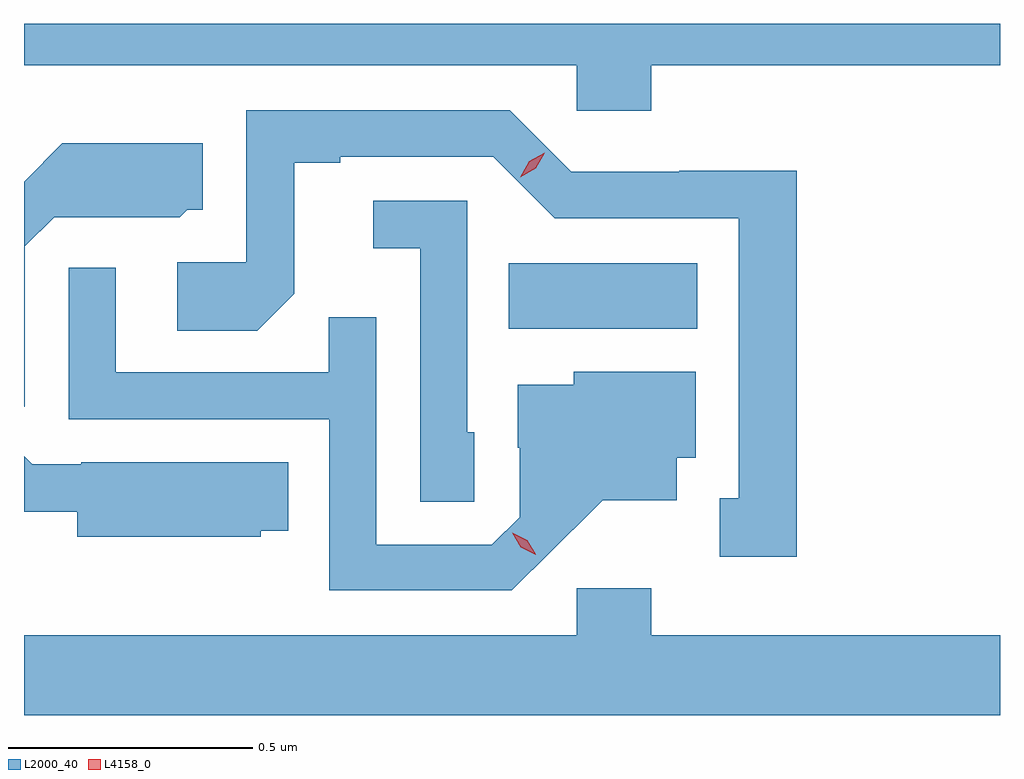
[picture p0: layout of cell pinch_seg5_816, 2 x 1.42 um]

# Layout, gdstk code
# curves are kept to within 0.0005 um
import gdstk
lib = gdstk.Library(unit=1e-6, precision=1e-09)
def R(c, l, rs):  # rectangles x0, y0, x1, y1
    for r in rs: c.add(gdstk.rectangle(r[:2], r[2:], *l))
def P(c, l, *ps):  # polygons
    for p in ps: c.add(gdstk.Polygon(p, *l))
L2000_40 = (2000, 40)
L4158_0 = (4158, 0)

pinch_seg5_816 = lib.new_cell('pinch_seg5_816')
R(pinch_seg5_816, L2000_40, [(781.834,912.164,782.221,912.298)])
P(pinch_seg5_816, L2000_40, [(782.126,912.704),(782.841,912.704),(782.841,912.789),(780.841,912.789),(780.841,912.704),(781.974,912.704),(781.974,912.611),(782.126,912.611)],
  [(782.425,912.488),(782.184,912.488),(782.184,912.486),(781.962,912.486),(781.836,912.612),(781.296,912.612),(781.296,912.3),(781.155,912.3),(781.155,912.16),(781.319,912.16),(781.395,912.236),(781.395,912.504),(781.489,912.504),(781.489,912.516),(781.803,912.516),(781.929,912.39),(782.306,912.39),(782.306,911.817),(782.267,911.817),(782.267,911.697),(782.425,911.697)],
  [(780.843,912.333),(780.903,912.393),(781.026,912.393),(781.026,912.392),(781.16,912.392),(781.176,912.408),(781.207,912.408),(781.207,912.544),(780.919,912.544),(780.841,912.465),(780.841,912.004),(780.843,912.004)],
  [(781.764,911.952),(781.749,911.952),(781.749,912.426),(781.557,912.426),(781.557,912.329),(781.653,912.329),(781.653,911.809),(781.764,911.809)],
  [(781.924,911.711),(782.027,911.813),(782.179,911.813),(782.179,911.9),(782.218,911.9),(782.218,912.076),(781.968,912.076),(781.968,912.049),(781.853,912.049),(781.853,911.92),(781.857,911.92),(781.857,911.778),(781.8,911.721),(781.563,911.721),(781.563,912.188),(781.465,912.188),(781.465,912.075),(781.029,912.075),(781.029,912.289),(780.933,912.289),(780.933,911.979),(781.467,911.979),(781.467,911.628),(781.84,911.628)],
  [(781.326,911.75),(781.382,911.75),(781.382,911.89),(780.958,911.89),(780.958,911.886),(780.858,911.886),(780.841,911.903),(780.841,911.789),(780.95,911.789),(780.95,911.738),(781.326,911.738)],
  [(782.841,911.536),(782.126,911.536),(782.126,911.632),(781.974,911.632),(781.974,911.536),(780.841,911.536),(780.841,911.372),(782.841,911.372)])
P(pinch_seg5_816, L4158_0, [(781.858,912.474),(781.858,912.474),(781.876,912.507),(781.908,912.525),(781.908,912.525),(781.908,912.525),(781.89,912.493),(781.858,912.474)],
  [(781.89,911.701),(781.859,911.716),(781.841,911.746),(781.841,911.746),(781.842,911.746),(781.872,911.731),(781.89,911.702),(781.89,911.701)])

lib.write_gds('pinch_seg5_816.gds')
